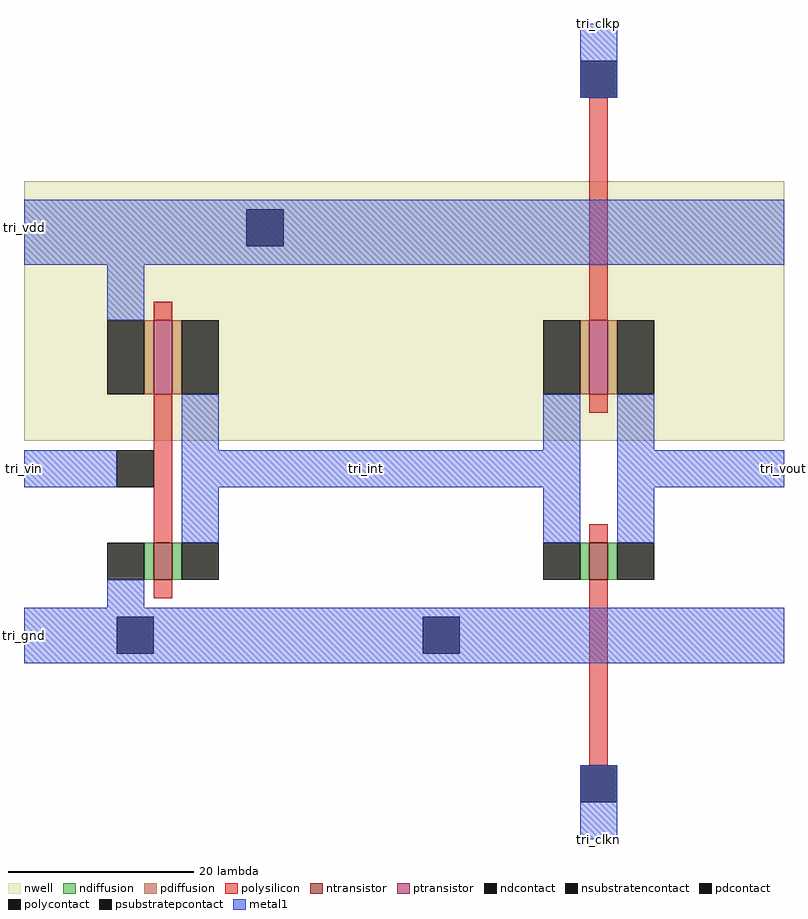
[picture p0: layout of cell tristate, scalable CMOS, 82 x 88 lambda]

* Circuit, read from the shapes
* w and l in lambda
.subckt tristate tri_vin tri_vout tri_clkp tri_clkn tri_vdd tri_gnd
M1 tri_int tri_vin tri_gnd tri_gnd nfet w=4 l=2
M2 tri_vout tri_clkn tri_int tri_gnd nfet w=4 l=2
M3 tri_int tri_vin tri_vdd tri_vdd pfet w=8 l=2
M4 tri_vout tri_clkp tri_int tri_vdd pfet w=8 l=2
.ends

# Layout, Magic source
magic
tech scmos
<< nwell >>
rect -41 39 41 67
<< metal1 >>
rect 19 76 23 84
rect -41 58 41 65
rect -41 34 -31 38
rect -24 34 19 38
rect 23 34 41 38
rect -41 15 41 21
rect 19 -4 23 4
use invertor  invertor_0 /home/skanda
transform 1 0 -31 0 1 24
box -6 -9 21 43
use transgate  transgate_0 /home/skanda
transform 1 0 16 0 1 24
box -16 -24 21 56
<< labels >>
rlabel metal1 41 36 41 36 7 tri_vout
port 2 w
rlabel metal1 -41 36 -41 36 3 tri_vin
port 1 e
rlabel metal1 -41 62 -41 62 3 tri_vdd
port 5 e
rlabel metal1 -4 36 -4 36 1 tri_int
rlabel metal1 21 84 21 84 5 tri_clkp
port 3 s
rlabel metal1 21 -4 21 -4 1 tri_clkn
port 4 n
rlabel metal1 -41 18 -41 18 3 tri_gnd
port 6 e
<< end >>

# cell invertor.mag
magic
tech scmos
<< nwell >>
rect -6 15 21 43
<< polysilicon >>
rect 4 28 6 30
rect 4 4 6 20
rect 4 -2 6 0
<< ndiffusion >>
rect 3 0 4 4
rect 6 0 7 4
<< pdiffusion >>
rect 3 20 4 28
rect 6 20 7 28
<< metal1 >>
rect -6 40 21 41
rect -6 36 14 40
rect 18 36 21 40
rect -6 34 21 36
rect -1 28 3 34
rect 7 14 11 20
rect -6 10 0 14
rect 7 10 21 14
rect 7 4 11 10
rect -1 -3 3 0
rect -6 -4 21 -3
rect -6 -8 0 -4
rect 4 -8 21 -4
rect -6 -9 21 -8
<< ntransistor >>
rect 4 0 6 4
<< ptransistor >>
rect 4 20 6 28
<< polycontact >>
rect 0 10 4 14
<< ndcontact >>
rect -1 0 3 4
rect 7 0 11 4
<< pdcontact >>
rect -1 20 3 28
rect 7 20 11 28
<< psubstratepcontact >>
rect 0 -8 4 -4
<< nsubstratencontact >>
rect 14 36 18 40
<< labels >>
rlabel metal1 -6 38 -6 38 4 inv_vdd
port 1 se
rlabel metal1 -6 12 -6 12 3 inv_vin
port 2 e
rlabel metal1 21 12 21 12 7 inv_vout
port 3 w
rlabel metal1 -6 -6 -6 -6 2 inv_gnd
port 4 ne
<< end >>

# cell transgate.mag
magic
tech scmos
<< nwell >>
rect -16 15 21 43
<< polysilicon >>
rect 4 28 6 52
rect 4 18 6 20
rect 4 4 6 6
rect 4 -20 6 0
<< ndiffusion >>
rect 3 0 4 4
rect 6 0 7 4
<< pdiffusion >>
rect 3 20 4 28
rect 6 20 7 28
<< metal1 >>
rect -16 34 21 41
rect -1 14 3 20
rect -16 10 3 14
rect -1 4 3 10
rect 7 14 11 20
rect 7 10 21 14
rect 7 4 11 10
rect -16 -4 21 -3
rect -16 -8 -14 -4
rect -10 -8 21 -4
rect -16 -9 21 -8
<< ntransistor >>
rect 4 0 6 4
<< ptransistor >>
rect 4 20 6 28
<< polycontact >>
rect 3 52 7 56
rect 3 -24 7 -20
<< ndcontact >>
rect -1 0 3 4
rect 7 0 11 4
<< pdcontact >>
rect -1 20 3 28
rect 7 20 11 28
<< psubstratepcontact >>
rect -14 -8 -10 -4
<< labels >>
rlabel polycontact 5 56 5 56 5 trans_clkp
port 1 s
rlabel metal1 -16 12 -16 12 3 trans_vin
port 2 e
rlabel polycontact 5 -24 5 -24 1 trans_clkn
port 3 n
rlabel metal1 21 12 21 12 7 trans_vout
port 4 w
rlabel metal1 -16 -6 -16 -6 3 trans_gnd
port 6 e
rlabel metal1 -16 37 -16 37 3 trans_vdd
port 5 e
<< end >>
